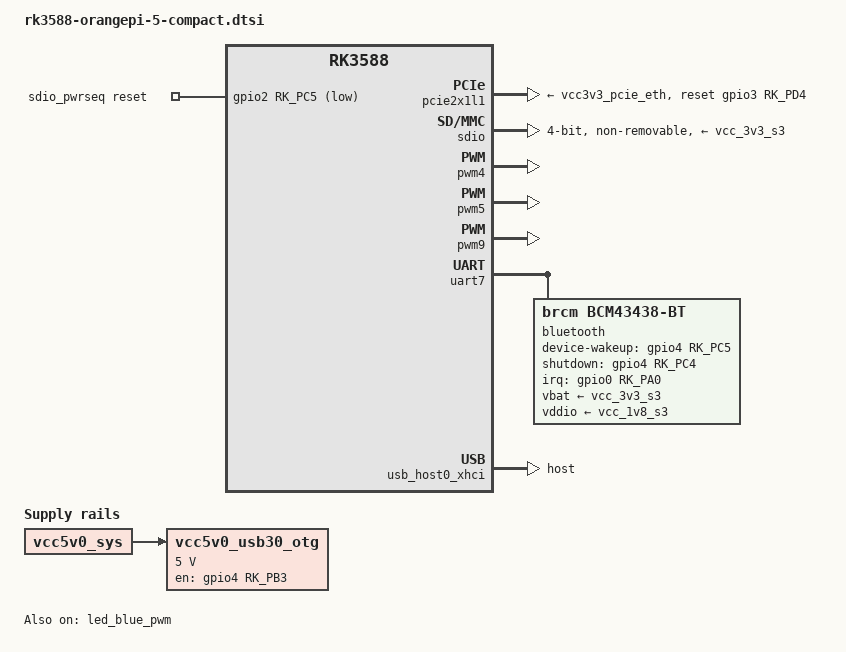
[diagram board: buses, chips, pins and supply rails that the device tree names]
// SPDX-License-Identifier: (GPL-2.0+ OR MIT)

/dts-v1/;

#include <dt-bindings/gpio/gpio.h>
#include <dt-bindings/pinctrl/rockchip.h>
#include "rk3588-orangepi-5.dtsi"

/ {
	vcc5v0_usb30_otg: vcc5v0-usb30-otg-regulator {
		compatible = "regulator-fixed";
		enable-active-high;
		/* USB_OTG_PWREN */
		gpios = <&gpio4 RK_PB3 GPIO_ACTIVE_HIGH>;
		pinctrl-names = "default";
		pinctrl-0 = <&usb_otg_pwren>;
		regulator-name = "vcc5v0_usb30_otg";
		regulator-min-microvolt = <5000000>;
		regulator-max-microvolt = <5000000>;
		vin-supply = <&vcc5v0_sys>;
	};

	sdio_pwrseq: sdio-pwrseq {
		compatible = "mmc-pwrseq-simple";
		clocks = <&hym8563>;
		clock-names = "ext_clock";
		pinctrl-names = "default";
		pinctrl-0 = <&wifi_enable_h>;
		/*
		 * On the module itself this is one of these (depending
		 * on the actual card populated):
		 * - SDIO_RESET_L_WL_REG_ON
		 * - PDN (power down when low)
		 */
		post-power-on-delay-ms = <200>;
		reset-gpios = <&gpio2 RK_PC5 GPIO_ACTIVE_LOW>;
	};
};

&headphone_amp {
	/* PHONE_CTL */
	enable-gpios = <&gpio4 RK_PB0 GPIO_ACTIVE_HIGH>;
};

&analog_sound {
	pinctrl-names = "default";
	pinctrl-0 = <&hp_detect>;
	simple-audio-card,aux-devs = <&headphone_amp>;
	simple-audio-card,hp-det-gpios = <&gpio3 RK_PD2 GPIO_ACTIVE_HIGH>;

	simple-audio-card,routing =
		"Headphones", "LOUT1",
		"Headphones", "ROUT1",
		"LINPUT1", "Microphone Jack",
		"RINPUT1", "Microphone Jack",
		"LINPUT2", "Onboard Microphone",
		"RINPUT2", "Onboard Microphone";
	simple-audio-card,widgets =
		"Microphone", "Microphone Jack",
		"Microphone", "Onboard Microphone",
		"Headphone", "Headphones";
};

&fan {
	/* FAN_CTL_H */
	pwms = <&pwm9 0 50000 0>;
};

&hym8563 {
	interrupt-parent = <&gpio0>;
	interrupts = <RK_PC4 IRQ_TYPE_LEVEL_LOW>;
	pinctrl-names = "default";
	pinctrl-0 = <&rtc_int_l>;
};

&led_blue_pwm {
	/* PWM_LED1 */
	status = "okay";
};

/* phy2 */
&pcie2x1l1 {
	reset-gpios = <&gpio3 RK_PD4 GPIO_ACTIVE_HIGH>;
	vpcie3v3-supply = <&vcc3v3_pcie_eth>;
	status = "okay";
};

&sdio {
	#address-cells = <1>;
    #size-cells = <0>;
	bus-width = <4>;
	cap-sd-highspeed;
	cap-sdio-irq;
	disable-wp;
	keep-power-in-suspend;
	max-frequency = <150000000>;
	mmc-pwrseq = <&sdio_pwrseq>;
	no-mmc;
	no-sd;
	non-removable;
	sd-uhs-sdr104;
	vmmc-supply = <&vcc_3v3_s3>;
	vqmmc-supply = <&vcc_1v8_s3>;
	pinctrl-names = "default";
	pinctrl-0 = <&sdiom0_pins>;
	status = "okay";
};

&pinctrl {
	sdio-pwrseq {
		wifi_enable_h: wifi-enable-h {
			rockchip,pins = <2 RK_PC5 RK_FUNC_GPIO &pcfg_pull_none>;
		};
	};

	hym8563 {
		rtc_int_l: hym8563-int {
			rockchip,pins = <0 RK_PC4 RK_FUNC_GPIO &pcfg_pull_none>;
		};
	};

	sound {
		hp_detect: hp-detect {
			rockchip,pins = <3 RK_PD2 RK_FUNC_GPIO &pcfg_pull_none>;
		};
	};

	usb {
		usb_host_pwren: usb-host-pwren {
			rockchip,pins = <3 RK_PD5 RK_FUNC_GPIO &pcfg_pull_none>;
		};
	};

	wireless-bluetooth {
		bt_reg_on: bt-reg-on {
			rockchip,pins = <4 RK_PC4 RK_FUNC_GPIO &pcfg_pull_none>;
		};

		bt_wake_host: bt-wake-host {
			rockchip,pins = <0 RK_PA0 RK_FUNC_GPIO &pcfg_pull_down>;
		};

		host_wake_bt: host-wake-bt {
			rockchip,pins = <4 RK_PC5 RK_FUNC_GPIO &pcfg_pull_none>;
		};
	};
};

&pwm4 {
	pinctrl-names = "default";
	pinctrl-0 = <&pwm4m0_pins>;
	status = "okay";
};

&pwm5 {
	pinctrl-names = "default";
	pinctrl-0 = <&pwm5m1_pins>;
	status = "okay";
};

&pwm9 {
	pinctrl-names = "default";
	pinctrl-0 = <&pwm9m2_pins>;
	status = "okay";
};

&sfc {
	pinctrl-names = "default";
	pinctrl-0 = <&fspim2_pins>;
};

&u2phy0_otg {
	phy-supply = <&vcc5v0_usb30_otg>;
};

&u2phy1_otg {
	phy-supply = <&vcc5v0_usb20>;
};

&uart7 {
	pinctrl-names = "default";
	pinctrl-0 = <&uart7m0_xfer &uart7m0_ctsn &uart7m0_rtsn>;
	uart-has-rtscts;
	status = "okay";

	bluetooth {
		compatible = "brcm,bcm43438-bt";
		clocks = <&hym8563>;
		clock-names = "lpo";
		device-wakeup-gpios = <&gpio4 RK_PC5 GPIO_ACTIVE_HIGH>;
		interrupt-parent = <&gpio0>;
		interrupts = <RK_PA0 IRQ_TYPE_EDGE_FALLING>;
		interrupt-names = "host-wakeup";
		pinctrl-names = "default";
		pinctrl-0 = <&bt_reg_on>, <&host_wake_bt>, <&bt_wake_host>;
		shutdown-gpios = <&gpio4 RK_PC4 GPIO_ACTIVE_HIGH>;
		vbat-supply = <&vcc_3v3_s3>;
		vddio-supply = <&vcc_1v8_s3>;
	};
};

&usb_host0_xhci {
	dr_mode = "host";
};

/* pcie eth. not a real regulator. 33VAUX */
&vcc3v3_pcie_eth {
	/* Ethernet_power_en */
	gpios = <&gpio0 RK_PD3 GPIO_ACTIVE_LOW>;
};

/*
 * Represents the vcc5v0_usb20 and vcc5v0_usb30 in the schematic,
 * both regulators share the same enable gpio
 */
&vcc5v0_usb20 {
	/* USB_HOST_PWREN */
	gpios = <&gpio3 RK_PD5 GPIO_ACTIVE_HIGH>;
	pinctrl-names = "default";
	pinctrl-0 = <&usb_host_pwren>;
};
